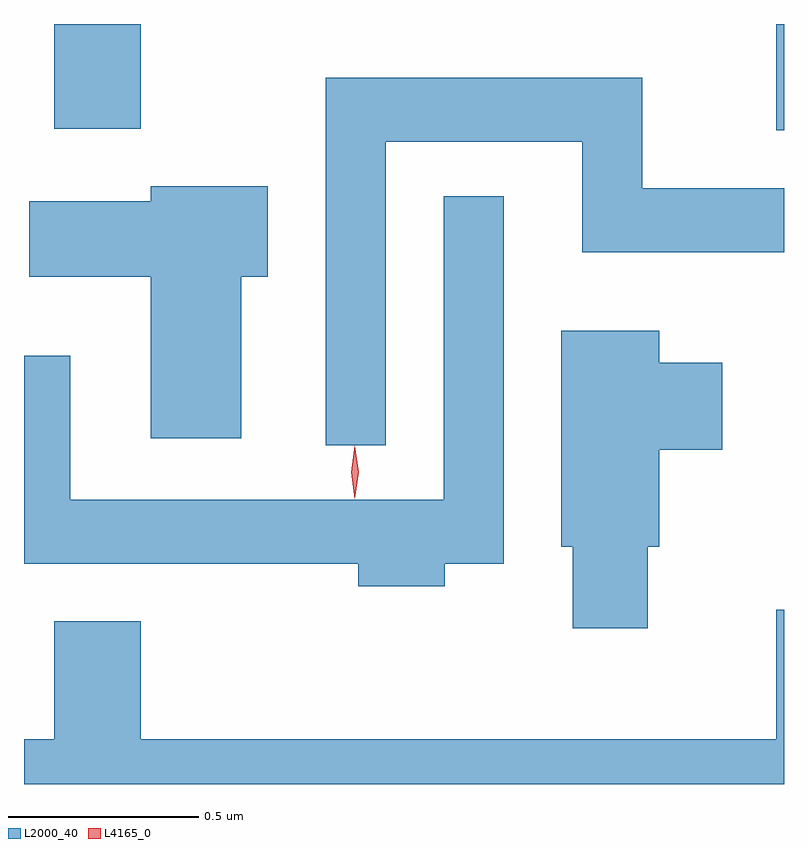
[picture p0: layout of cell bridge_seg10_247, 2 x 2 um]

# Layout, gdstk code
import gdstk
lib = gdstk.Library(unit=1e-6, precision=1e-09)
def R(c, l, rs):  # rectangles x0, y0, x1, y1
    for r in rs: c.add(gdstk.rectangle(r[:2], r[2:], *l))
def P(c, l, *ps):  # polygons
    for p in ps: c.add(gdstk.Polygon(p, *l))
L2000_40 = (2000, 40)
L4165_0 = (4165, 0)

bridge_seg10_247 = lib.new_cell('bridge_seg10_247')
R(bridge_seg10_247, L2000_40, [(1763.911,2091.366,1763.932,2091.646), (1762.011,2091.371,1762.239,2091.646)])
P(bridge_seg10_247, L2000_40, [(1762.884,2091.336),(1763.401,2091.336),(1763.401,2091.046),(1763.932,2091.046),(1763.932,2091.214),(1763.559,2091.214),(1763.559,2091.504),(1762.726,2091.504),(1762.726,2090.538),(1762.884,2090.538)],
  [(1762.504,2090.981),(1762.574,2090.981),(1762.574,2091.219),(1762.266,2091.219),(1762.266,2091.179),(1761.946,2091.179),(1761.946,2090.981),(1762.266,2090.981),(1762.266,2090.556),(1762.504,2090.556)],
  [(1763.039,2090.226),(1763.194,2090.226),(1763.194,2091.193),(1763.036,2091.193),(1763.036,2090.394),(1762.054,2090.394),(1762.054,2090.773),(1761.932,2090.773),(1761.932,2090.226),(1762.811,2090.226),(1762.811,2090.166),(1763.039,2090.166)],
  [(1763.574,2090.271),(1763.604,2090.271),(1763.604,2090.526),(1763.769,2090.526),(1763.769,2090.754),(1763.604,2090.754),(1763.604,2090.839),(1763.346,2090.839),(1763.346,2090.271),(1763.376,2090.271),(1763.376,2090.056),(1763.574,2090.056)],
  [(1763.932,2090.104),(1763.911,2090.104),(1763.911,2089.764),(1762.239,2089.764),(1762.239,2090.074),(1762.011,2090.074),(1762.011,2089.764),(1761.932,2089.764),(1761.932,2089.646),(1763.932,2089.646)])
P(bridge_seg10_247, L4165_0, [(1762.802,2090.397),(1762.793,2090.467),(1762.802,2090.536),(1762.803,2090.536),(1762.803,2090.536),(1762.813,2090.467),(1762.803,2090.397),(1762.803,2090.397)])

lib.write_gds('bridge_seg10_247.gds')
